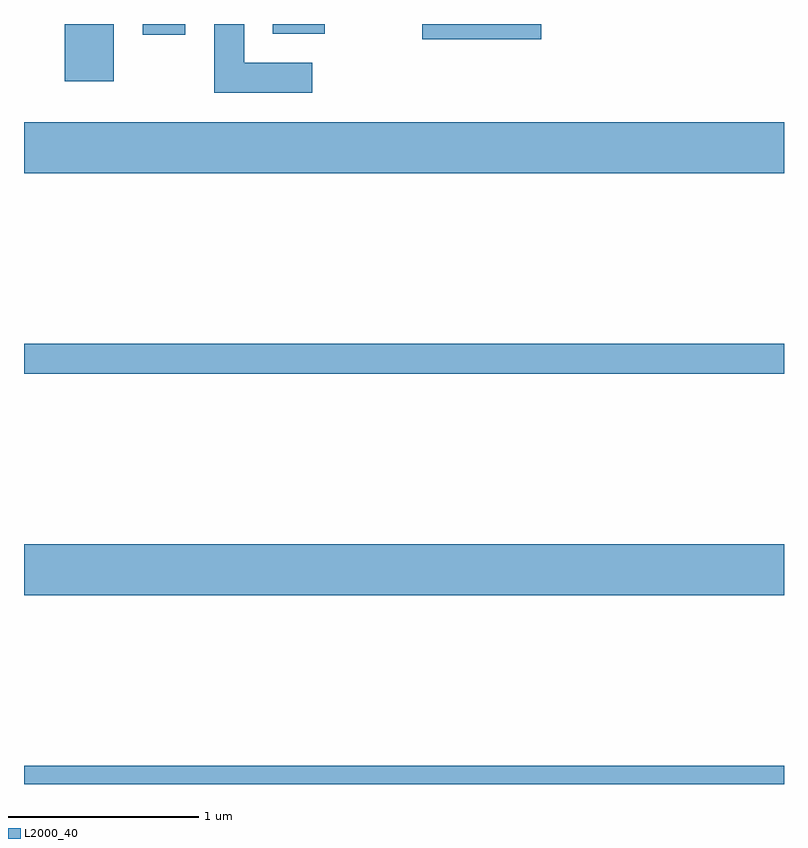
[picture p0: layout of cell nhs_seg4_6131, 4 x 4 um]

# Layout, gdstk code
import gdstk
lib = gdstk.Library(unit=1e-6, precision=1e-09)
def R(c, l, rs):  # rectangles x0, y0, x1, y1
    for r in rs: c.add(gdstk.rectangle(r[:2], r[2:], *l))
def P(c, l, *ps):  # polygons
    for p in ps: c.add(gdstk.Polygon(p, *l))
L2000_40 = (2000, 40)

nhs_seg4_6131 = lib.new_cell('nhs_seg4_6131')
R(nhs_seg4_6131, L2000_40, [(365.611,1275.982,369.611,1276.079), (365.611,1276.976,369.611,1277.244), (365.611,1278.141,369.611,1278.299), (365.611,1279.196,369.611,1279.464), (365.826,1279.681,366.084,1279.982), (367.706,1279.901,368.334,1279.982), (366.236,1279.926,366.459,1279.982), (366.921,1279.931,367.194,1279.982)])
P(nhs_seg4_6131, L2000_40, [(367.128,1279.779),(366.769,1279.779),(366.769,1279.982),(366.611,1279.982),(366.611,1279.621),(367.128,1279.621)])

lib.write_gds('nhs_seg4_6131.gds')
